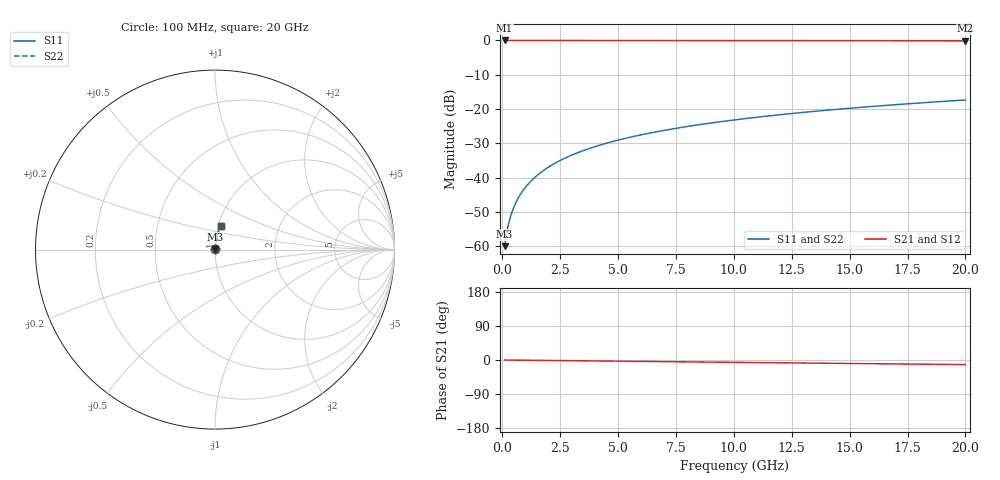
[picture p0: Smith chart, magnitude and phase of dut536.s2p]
! Touchstone file exported from HFSS 2026.1.0
!  File:  C:/ffzhzh/LocalFiles/Ansys_Project_Files/temp_train_TMRDL_536_1783007388_51716.aedt
!  Generated:  11:51:03 PM Jul  2, 2026
!  Design:  TMRDL
!  Project:  temp_train_TMRDL_536_1783007388_51716
! Variables:
!  h_bsmrdl = 2um
!  h_ox = 20um
!  h_rdl = 5um
!  h_sub = 80um
!  h_tmrdl = 4.52um
!  h_tsv = 80um
!  h_via = 3um
!  l_bsmrdl = 300um
!  l_sub = 528.12um
!  l_tmrdl = 128.12um
!  m_sub = 200um
!  pitch = 52.19um
!  r_tsv = 6um
!  s_tmrdl = 10um
!  w_bsmrdl = 18um
!  w_sub = 500um
!  w_tmrdl = 20.39um
!  x_tsv_center1 = 138.315um
!  x_tsv_center2 = 456.315um
!  x_tsv_center3 = 604.825um
!  x_tsv_center4 = 922.825um
!  x_tsv_center5 = 1071.335um
!  x_tsv_center6 = 1389.335um
# GHz S MA R 50.000000
! Terminal data exported
! Port[1] = TM_RDL1_1_T1
! Port[2] = TM_RDL1_1_T2
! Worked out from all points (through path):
!   200 points, 100 MHz to 20 GHz, reference 50 ohm
!   highest |S21| = -0.01 dB at 100 MHz (marker M1); lowest = -0.1 dB at 20 GHz (marker M2)
!   group delay of S21, straight-line fit = 1.68 ps
!   lowest |S11| = -60.0 dB at 100 MHz (marker M3), VSWR 1.00, Z = 50.1 + j0.0758 ohm
!   |S11| at or under -10 dB: start of sweep to end of sweep
!   |S22| runs from -60.0 to -17.4 dB; largest |S21 - S12| = 3.1e-15
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0.1  0.001002 49.0  0.9993 -0.1  0.9993 -0.1  0.001002 49.0
! Gamma 0 0 0 0
! Port Impedance 50 0 50 0
0.2  0.001648 65.2  0.9993 -0.1  0.9993 -0.1  0.001648 65.2
0.3  0.002334 71.9  0.9993 -0.2  0.9993 -0.2  0.002334 71.9
0.4  0.003026 75.5  0.9993 -0.3  0.9993 -0.3  0.003026 75.5
0.5  0.00372 77.8  0.9992 -0.3  0.9992 -0.3  0.00372 77.8
0.7  0.005116 80.6  0.9992 -0.4  0.9992 -0.4  0.005116 80.6
0.8  0.005817 81.5  0.9992 -0.5  0.9992 -0.5  0.005817 81.5
1  0.007223 82.8  0.9991 -0.6  0.9991 -0.6  0.007223 82.8
1.2  0.008633 83.6  0.9991 -0.8  0.9991 -0.8  0.008633 83.6
1.4  0.01004 84.2  0.9991 -0.9  0.9991 -0.9  0.01004 84.2
1.7  0.01216 84.7  0.999 -1.1  0.999 -1.1  0.01216 84.7
2  0.01428 85.0  0.9989 -1.2  0.9989 -1.2  0.01428 85.0
2.7  0.01921 85.2  0.9988 -1.7  0.9988 -1.7  0.01921 85.2
3.5  0.02481 85.1  0.9985 -2.2  0.9985 -2.2  0.02481 85.1
4.2  0.02969 84.9  0.9983 -2.6  0.9983 -2.6  0.02969 84.9
5  0.03523 84.5  0.9979 -3.1  0.9979 -3.1  0.03523 84.5
6.8  0.04759 83.7  0.9971 -4.2  0.9971 -4.2  0.04759 83.7
8.3  0.05779 82.9  0.9963 -5.1  0.9963 -5.1  0.05779 82.9
10.1  0.06996 82.0  0.9953 -6.2  0.9953 -6.2  0.06996 82.0
13.4  0.09207 80.2  0.9932 -8.2  0.9932 -8.2  0.09207 80.2
16.7  0.1139 78.4  0.9906 -10.2  0.9906 -10.2  0.1139 78.4
20  0.1355 76.5  0.9876 -12.1  0.9876 -12.1  0.1355 76.5
